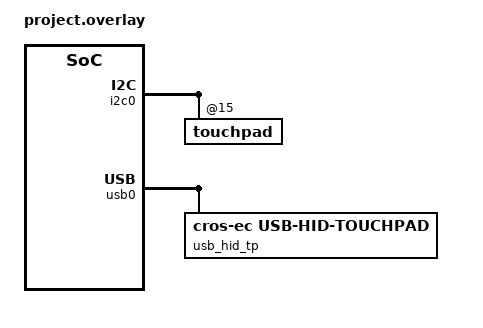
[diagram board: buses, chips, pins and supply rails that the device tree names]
/* Copyright 2024 The ChromiumOS Authors
 * Use of this source code is governed by a BSD-style license that can be
 * found in the LICENSE file.
 */

#include <cros/touchpad_hashes.dtsi>

#include "../gpio.dtsi"
#include "../uart.dtsi"
#include "../i2c.dtsi"
#include "../interrupts.dtsi"
#include "../keyboard.dtsi"
#include "../pwm.dtsi"
#include "../rwsig.dtsi"

&i2c0 {
	touchpad@15 {
		logical_max_x = <2644>;
		logical_max_y = <1440>;
		physical_max_x = <839>;
		physical_max_y = <457>;
	};
};

&touchpad_fw_hashes {
	size = <((65536 / 1024) * 32)>;
};


/ {
	aliases {
		usb-hid-tp = &usb_hid_tp;
	};
};

&uart2 {
	status = "disabled";

	one_wire_uart: one-wire-uart {
		status = "disabled";
	};
};

&ite_uart2_wrapper {
	status = "disabled";
};

&usb0 {
	status = "okay";
	pinctrl-0 = <&usb0_dm_gph5_default
		     &usb0_dp_gph6_default>;
	pinctrl-names = "default";

	usb_hid_tp: usb-hid-tp {
		compatible = "cros-ec,usb-hid-touchpad";

		logical_max_x = <2721>;
		logical_max_y = <1291>;
		physical_max_x = <864>;
		physical_max_y = <410>;
		max_pressure = <255>;
	};
};
